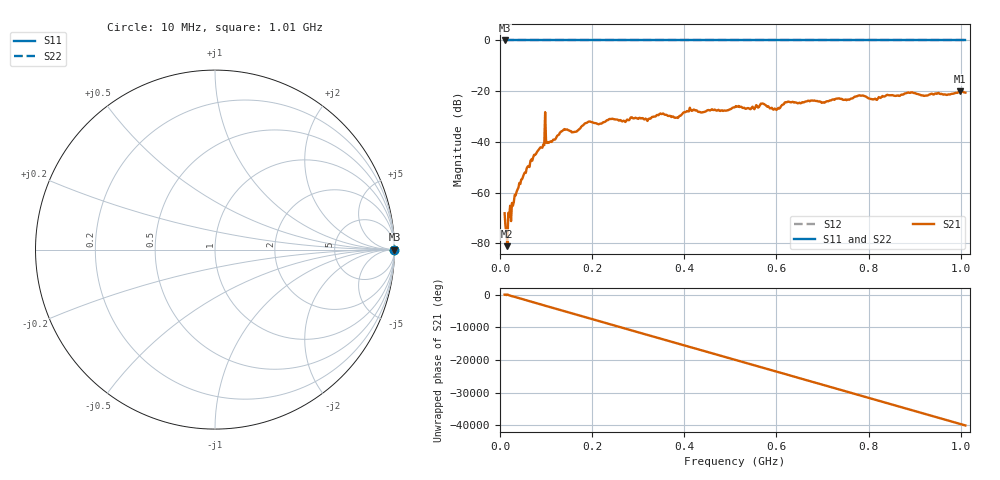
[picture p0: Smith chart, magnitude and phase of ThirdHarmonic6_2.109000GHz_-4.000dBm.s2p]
! 8/17/2025 1:13:17 AM
! C:\ANRITSUVNA\TEMP\TEMP.S2P
! CHANNEL.1
! TR.MEASUREMENT
! RAW.DATA
! RF.CORRECTION.OFF
! AVERAGING.OFF
! IF.BANDWIDTH: 5KHZ
! SWEEPTYPE:  FREQ.SWEEP(Linear)
! Reference Plane Port Info
! PORT:  PORT1  PORT2
! DISTANCE:  0  m  0  m
! TIME:  0  s  0  s
! PHASE.OFFSET:  0  deg.  0  deg.
! LOSS:  0  dB  0  dB
! REF.LOSS:  0  dB  0  dB
! REF.FREQ:  0  Hz  0  Hz
! Power Info
! POWER:  -20  dBm  -20  dBm
! EFF.POWER:  -20  dBm  -20  dBm
! SOURCE.ATTEN:  0  dB  0  dB
! TEST.ATTEN:  0  dB  0  dB
# GHZ S RI R 50.0
! FREQ.GHZ  S11RE  S11IM  S21RE  S21IM  S12RE  S12IM  S22RE  S22IM
!; PortSelection: Port_12
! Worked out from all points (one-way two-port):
!   501 points, 10 MHz to 1.01 GHz, reference 50 ohm
!   highest |S21| = -20.04 dB at 998 MHz (marker M1); lowest = -81.1 dB at 16 MHz (marker M2)
!   lowest |S11| = 0.0 dB at 10 MHz (marker M3)
!   |S11| at or under -10 dB: nowhere
!   |S22| runs from 0.0 to 0.0 dB; largest |S21 - S12| = 1.1
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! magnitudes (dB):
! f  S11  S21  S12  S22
! 10 MHz  0.0  -68.1  0.0  0.0
! 16 MHz  0.0  -81.1  0.0  0.0
! 22 MHz  0.0  -65.2  0.0  0.0
! 42 MHz  0.0  -56.2  0.0  0.0
! 70 MHz  0.0  -47.4  0.0  0.0
! 92 MHz  0.0  -42.3  0.0  0.0
! 94 MHz  0.0  -41.0  0.0  0.0
! 102 MHz  0.0  -40.4  0.0  0.0
! 110 MHz  0.0  -39.8  0.0  0.0
! 136 MHz  0.0  -35.6  0.0  0.0
! 178 MHz  0.0  -33.7  0.0  0.0
! 344 MHz  0.0  -29.4  0.0  0.0
! 382 MHz  0.0  -30.4  0.0  0.0
! 416 MHz  0.0  -27.7  0.0  0.0
! 510 MHz  0.0  -26.3  0.0  0.0
! 570 MHz  0.0  -24.9  0.0  0.0
! 596 MHz  0.0  -26.9  0.0  0.0
! 622 MHz  0.0  -24.4  0.0  0.0
! 678 MHz  0.0  -23.7  0.0  0.0
! 844 MHz  0.0  -21.6  0.0  0.0
! 998 MHz  0.0  -20.0  0.0  0.0
! 1.01 GHz  0.0  -20.6  0.0  0.0
